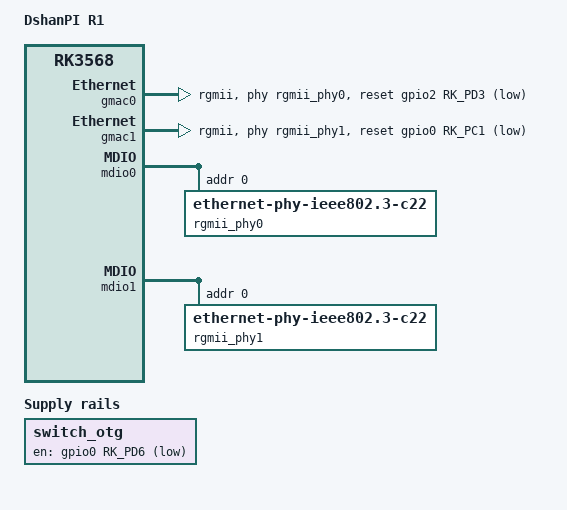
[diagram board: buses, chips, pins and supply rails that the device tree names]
// SPDX-License-Identifier: (GPL-2.0+ OR MIT)
// Copyright (c) 2022 AmadeusGhost <amadeus@jmu.edu.cn>

/dts-v1/;

#include "rk3568-100ask-dshanpi-r1.dtsi"

/ {
	model = "DshanPI R1";
	compatible = "dshanpi,r1", "rockchip,rk3568";

	aliases {
		ethernet0 = &gmac0;
		ethernet1 = &gmac1;

	};

	switch_otg: switch-otg {
		compatible = "regulator-fixed";
		gpio = <&gpio0 RK_PD6 GPIO_ACTIVE_LOW>;
		pinctrl-names = "default";
		pinctrl-0 = <&usb_otg_switch_en>;
		regulator-name = "switch_otg";
		regulator-always-on;
	};

};

&gmac0 {
	phy-mode = "rgmii";
	clock_in_out = "input";
	snps,reset-gpio = <&gpio2 RK_PD3 GPIO_ACTIVE_LOW>;
	snps,reset-active-low;
	/* Reset time is 20ms, 100ms for rtl8211f */
	snps,reset-delays-us = <0 20000 100000>;
	assigned-clocks = <&cru SCLK_GMAC0_RX_TX>, <&cru SCLK_GMAC0>, <&cru CLK_MAC0_OUT>;
	assigned-clock-parents = <&cru SCLK_GMAC0_RGMII_SPEED>, <&cru CLK_MAC0_2TOP>;
	assigned-clock-rates = <0>, <125000000>, <25000000>;

	pinctrl-names = "default";
	pinctrl-0 = <&gmac0_miim
		     &gmac0_tx_bus2
		     &gmac0_rx_bus2
		     &gmac0_rgmii_clk
		     &gmac0_rgmii_bus
			&eth0_pins
			&gmac0_clkinout>;

	tx_delay = <0x2d>;
	rx_delay = <0x2c>;
	phy-handle = <&rgmii_phy0>;
	status = "okay";
};

&gmac1 {
	phy-mode = "rgmii";
	clock_in_out = "input";
	snps,reset-gpio = <&gpio0 RK_PC1 GPIO_ACTIVE_LOW>;
	snps,reset-active-low;
	/* Reset time is 20ms, 100ms for rtl8211f */
	snps,reset-delays-us = <0 20000 100000>;
	assigned-clocks = <&cru SCLK_GMAC1_RX_TX>, <&cru SCLK_GMAC1>, <&cru CLK_MAC1_OUT>;
	assigned-clock-parents = <&cru SCLK_GMAC1_RGMII_SPEED>, <&cru CLK_MAC1_2TOP>;
	assigned-clock-rates = <0>, <125000000>, <25000000>;

	pinctrl-names = "default";
	pinctrl-0 = <&gmac1m1_miim
		     &gmac1m1_tx_bus2
		     &gmac1m1_rx_bus2
		     &gmac1m1_rgmii_clk
		     &gmac1m1_rgmii_bus
			&eth1m0_pins
			&gmac1m1_clkinout>;
			
	tx_delay = <0x3a>;
	rx_delay = <0x29>;

	phy-handle = <&rgmii_phy1>;
	status = "okay";
};

&mdio0 {
	rgmii_phy0: ethernet-phy@0 {
		compatible = "ethernet-phy-ieee802.3-c22";
		reg = <0x0>;
		clocks = <&cru CLK_MAC0_OUT>;
	};
};

&mdio1 {
	rgmii_phy1: ethernet-phy@0 {
		compatible = "ethernet-phy-ieee802.3-c22";
		reg = <0x0>;
		clocks = <&cru CLK_MAC1_OUT>;
	};
};

&pinctrl {
	ether1 {
		reset1: reset1 {
			rockchip,pins = <0 RK_PC1 RK_FUNC_GPIO &pcfg_pull_up>;
		};
	};
	usb {
		vcc5v0_usb_host_en: vcc5v0_usb_host_en {
			rockchip,pins = <0 RK_PA5 RK_FUNC_GPIO &pcfg_pull_none>;
		};

		vcc5v0_usb_otg_en: vcc5v0_usb_otg_en {
			rockchip,pins = <0 RK_PA6 RK_FUNC_GPIO &pcfg_pull_none>;
		};

		usb_otg_switch_en: usb-otg-switch_en {
			rockchip,pins = <0 RK_PD6 RK_FUNC_GPIO &pcfg_pull_none>;
		};
	};
};
